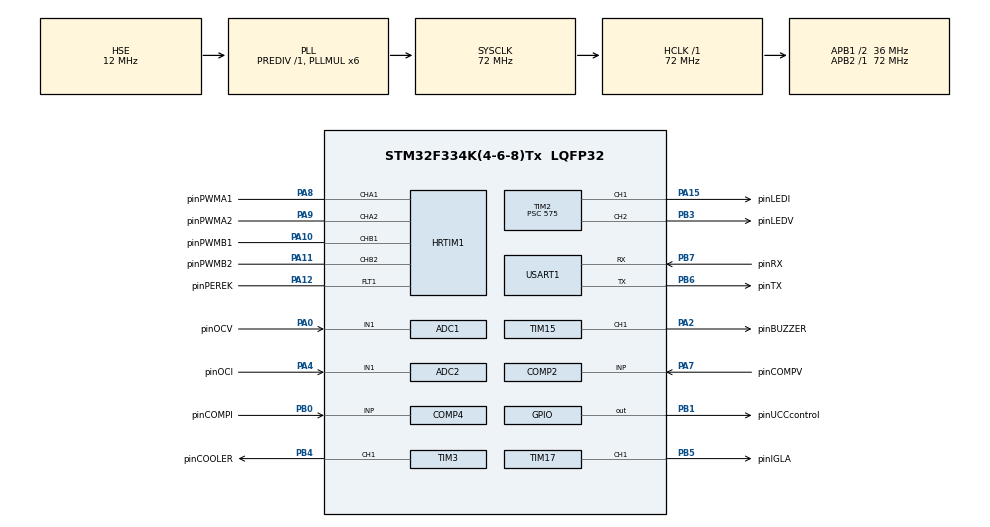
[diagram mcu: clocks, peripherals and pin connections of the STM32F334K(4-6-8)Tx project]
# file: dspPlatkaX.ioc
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ADC1.EOCSelection=ADC_EOC_SEQ_CONV
ADC1.EnableRegularConversion=DISABLE
ADC1.ExternalTrigInjecConv=ADC_EXTERNALTRIGINJECCONV_HRTIM_TRG2
ADC1.InjNumberOfConversion=1
ADC1.InjectedChannel-2\#ChannelInjectedConversion=ADC_CHANNEL_1
ADC1.InjectedOffset-2\#ChannelInjectedConversion=0
ADC1.InjectedOffsetNumber-2\#ChannelInjectedConversion=ADC_OFFSET_NONE
ADC1.InjectedRank-2\#ChannelInjectedConversion=1
ADC1.InjectedSamplingTime-2\#ChannelInjectedConversion=ADC_SAMPLETIME_19CYCLES_5
ADC1.InjectedSamplingTimeOPAMP-2\#ChannelInjectedConversion=ADC_SAMPLETIME_61CYCLES_5
ADC1.SubFamily=STM32F334x8
ADC1.master=1
ADC2.EnableRegularConversion=DISABLE
ADC2.ExternalTrigInjecConv=ADC_EXTERNALTRIGINJECCONV_HRTIM_TRG2
ADC2.InjNumberOfConversion=1
ADC2.InjectedChannel-1\#ChannelInjectedConversion=ADC_CHANNEL_1
ADC2.InjectedOffset-1\#ChannelInjectedConversion=0
ADC2.InjectedOffsetNumber-1\#ChannelInjectedConversion=ADC_OFFSET_NONE
ADC2.InjectedRank-1\#ChannelInjectedConversion=1
ADC2.InjectedSamplingTime-1\#ChannelInjectedConversion=ADC_SAMPLETIME_19CYCLES_5
ADC2.InjectedSamplingTimeOPAMP-1\#ChannelInjectedConversion=ADC_SAMPLETIME_61CYCLES_5
ADC2.SubFamily=STM32F334x8
COMP2.InvertingInput=COMP_INVERTINGINPUT_DAC1_CH2
COMP2.TriggerMode=COMP_TRIGGERMODE_IT_RISING_FALLING
COMP4.InvertingInput=COMP_INVERTINGINPUT_DAC1_CH2
COMP4.TriggerMode=COMP_TRIGGERMODE_IT_RISING_FALLING
DAC1.DAC_Trigger2=DAC_TRIGGER_SOFTWARE
DAC1.TriangleAmplitude2=DAC_TRIANGLEAMPLITUDE_7
DAC1.WaveGeneration2=TriangleWaveGeneration
DAC2.DAC_Trigger=DAC_TRIGGER_SOFTWARE
Dma.Request0=USART1_RX
Dma.Request1=USART1_TX
Dma.USART1_RX.0.Direction=DMA_PERIPH_TO_MEMORY
Dma.USART1_RX.0.Instance=DMA1_Channel5
Dma.USART1_RX.0.MemDataAlignment=DMA_MDATAALIGN_BYTE
Dma.USART1_RX.0.MemInc=DMA_MINC_ENABLE
Dma.USART1_RX.0.Mode=DMA_CIRCULAR
Dma.USART1_RX.0.PeriphDataAlignment=DMA_PDATAALIGN_BYTE
Dma.USART1_RX.0.PeriphInc=DMA_PINC_DISABLE
Dma.USART1_RX.0.Priority=DMA_PRIORITY_LOW
Dma.USART1_TX.1.Direction=DMA_MEMORY_TO_PERIPH
Dma.USART1_TX.1.Instance=DMA1_Channel4
Dma.USART1_TX.1.MemDataAlignment=DMA_MDATAALIGN_BYTE
Dma.USART1_TX.1.MemInc=DMA_MINC_ENABLE
Dma.USART1_TX.1.Mode=DMA_CIRCULAR
Dma.USART1_TX.1.PeriphDataAlignment=DMA_PDATAALIGN_BYTE
Dma.USART1_TX.1.PeriphInc=DMA_PINC_DISABLE
Dma.USART1_TX.1.Priority=DMA_PRIORITY_MEDIUM
HRTIM1.ADCTrigger2_Source1=HRTIM_ADCTRIGGEREVENT24_TIMERC_PERIOD
HRTIM1.ADCTrigger_Id2=HRTIM_ADCTRIGGER_2
HRTIM1.CaptureUnit1-Output_TB1TB2=HRTIM_CAPTUREUNIT_1
HRTIM1.CaptureUnit2-Output_TB1TB2=HRTIM_CAPTUREUNIT_2
HRTIM1.CompareUnit1-No_output_TC=__NULL
HRTIM1.CompareUnit1-Output_TA1TA2=__NULL
HRTIM1.CompareUnit1-Output_TB1TB2=HRTIM_COMPAREUNIT_1
HRTIM1.CompareUnit2-Output_TA1TA2=__NULL
HRTIM1.CompareUnit2-Output_TB1TB2=HRTIM_COMPAREUNIT_2
HRTIM1.CompareUnit3-Output_TB1TB2=HRTIM_COMPAREUNIT_3
HRTIM1.CompareUnit4-Output_TB1TB2=HRTIM_COMPAREUNIT_4
HRTIM1.CompareValue1-No_output_TC=2304
HRTIM1.CompareValue1-Output_TA1TA2=46080
HRTIM1.CompareValue1-Output_TB1TB2=4600
HRTIM1.CompareValue2-Output_TA1TA2=46080
HRTIM1.CompareValue2-Output_TB1TB2=23040
HRTIM1.CompareValue3-Output_TB1TB2=27640
HRTIM1.CompareValue4-Output_TB1TB2=46080
HRTIM1.DACSynchro-MasterTimer=HRTIM_DACSYNC_NONE
HRTIM1.Event_EEV1=HRTIM_EVENT_1
HRTIM1.Event_EEV2=HRTIM_EVENT_2
HRTIM1.FastMode_EEV1=HRTIM_EVENTFASTMODE_ENABLE
HRTIM1.FastMode_EEV2=HRTIM_EVENTFASTMODE_ENABLE
HRTIM1.FaultEnable_Source1-Output_TA1TA2=HRTIM_TIMFAULTENABLE_FAULT1
HRTIM1.FaultEnable_Source1-Output_TB1TB2=HRTIM_TIMFAULTENABLE_FAULT1
HRTIM1.FaultLevel1-Output_TA1TA2=HRTIM_OUTPUTFAULTLEVEL_ACTIVE
HRTIM1.FaultLevel1-Output_TB1TB2=HRTIM_OUTPUTFAULTLEVEL_INACTIVE
HRTIM1.FaultLevel2-Output_TA1TA2=HRTIM_OUTPUTFAULTLEVEL_ACTIVE
HRTIM1.FaultLevel2-Output_TB1TB2=HRTIM_OUTPUTFAULTLEVEL_INACTIVE
HRTIM1.Filter_FaultLine1=HRTIM_FAULTFILTER_15
HRTIM1.HRTIMInterruptResquests1=HRTIM_IT_FLT1
HRTIM1.HRTIMInterruptResquests2=HRTIM_IT_SYSFLT
HRTIM1.IdleLevel1-Output_TA1TA2=HRTIM_OUTPUTIDLELEVEL_ACTIVE
HRTIM1.IdleLevel2-Output_TA1TA2=HRTIM_OUTPUTIDLELEVEL_ACTIVE
HRTIM1.ModeTimeBase-Output_TA1TA2=HRTIM_MODE_SINGLESHOT_RETRIGGERABLE
HRTIM1.ModeTimeBase-Output_TB1TB2=HRTIM_MODE_SINGLESHOT_RETRIGGERABLE
HRTIM1.NumberADCTriggerSource2=1
HRTIM1.NumberFaultEnable-Output_TA1TA2=1
HRTIM1.NumberFaultEnable-Output_TB1TB2=1
HRTIM1.NumberResetSource1-Output_TA1TA2=1
HRTIM1.NumberResetSource1-Output_TB1TB2=7
HRTIM1.NumberResetSource2_TA=1
HRTIM1.NumberResetSource2_TB=7
HRTIM1.NumberResetTrigger-No_output_TC=1
HRTIM1.NumberResetTrigger-Output_TA1TA2=1
HRTIM1.NumberResetTrigger-Output_TB1TB2=1
HRTIM1.NumberSetSource1-Output_TA1TA2=2
HRTIM1.NumberSetSource1-Output_TB1TB2=1
HRTIM1.NumberSetSource2_TA=2
HRTIM1.NumberSetSource2_TB=1
HRTIM1.NumberTriggerSource_Captureconfig1-Output_TB1TB2=1
HRTIM1.NumberTriggerSource_Captureconfig2-Output_TB1TB2=1
HRTIM1.NumberUpdateTrigger-No_output_TC=1
HRTIM1.NumberUpdateTrigger-Output_TA1TA2=1
HRTIM1.NumberUpdateTrigger-Output_TB1TB2=1
HRTIM1.ORingUpdateSource_ADCTrigger2=HRTIM_ADCTRIGGERUPDATE_TIMER_C
HRTIM1.Periode_MASTER=46080
HRTIM1.Periode_TA=46080
HRTIM1.Periode_TB=46080
HRTIM1.Periode_TC=2304
HRTIM1.Polarity1-Output_TA1TA2=HRTIM_OUTPUTPOLARITY_LOW
HRTIM1.Polarity2-Output_TA1TA2=HRTIM_OUTPUTPOLARITY_LOW
HRTIM1.PreloadEnable-MasterTimer=HRTIM_PRELOAD_ENABLED
HRTIM1.PreloadEnable-No_output_TC=HRTIM_PRELOAD_ENABLED
HRTIM1.PreloadEnable-Output_TA1TA2=HRTIM_PRELOAD_ENABLED
HRTIM1.PreloadEnable-Output_TB1TB2=HRTIM_PRELOAD_ENABLED
HRTIM1.PrescalerRatio_MASTER=HRTIM_PRESCALERRATIO_MUL16
HRTIM1.PrescalerRatio_TA=HRTIM_PRESCALERRATIO_MUL16
HRTIM1.PrescalerRatio_TB=HRTIM_PRESCALERRATIO_MUL16
HRTIM1.PrescalerRatio_TC=HRTIM_PRESCALERRATIO_MUL32
HRTIM1.RepetitionUpdate-MasterTimer=HRTIM_UPDATEONREPETITION_ENABLED
HRTIM1.RepetitionUpdate-No_output_TC=HRTIM_UPDATEONREPETITION_ENABLED
HRTIM1.RepetitionUpdate-Output_TA1TA2=HRTIM_UPDATEONREPETITION_ENABLED
HRTIM1.RepetitionUpdate-Output_TB1TB2=HRTIM_UPDATEONREPETITION_ENABLED
HRTIM1.ResetOutput1_Source1-Output_TA1TA2=HRTIM_OUTPUTRESET_MASTERPER
HRTIM1.ResetOutput1_Source1-Output_TB1TB2=HRTIM_OUTPUTRESET_TIMCMP2
HRTIM1.ResetOutput1_Source2-Output_TA1TA2=HRTIM_OUTPUTRESET_NONE
HRTIM1.ResetOutput1_Source2-Output_TB1TB2=HRTIM_OUTPUTRESET_TIMCMP3
HRTIM1.ResetOutput1_Source3-Output_TA1TA2=HRTIM_OUTPUTRESET_NONE
HRTIM1.ResetOutput1_Source3-Output_TB1TB2=HRTIM_OUTPUTRESET_TIMCMP4
HRTIM1.ResetOutput1_Source4-Output_TB1TB2=HRTIM_OUTPUTRESET_EEV_1
HRTIM1.ResetOutput1_Source5-Output_TB1TB2=HRTIM_OUTPUTRESET_EEV_2
HRTIM1.ResetOutput1_Source6-Output_TB1TB2=HRTIM_OUTPUTRESET_MASTERPER
HRTIM1.ResetOutput1_Source7-Output_TB1TB2=HRTIM_OUTPUTRESET_UPDATE
HRTIM1.ResetOutput2_Source1-Output_TA1TA2=HRTIM_OUTPUTRESET_MASTERPER
HRTIM1.ResetOutput2_Source1-Output_TB1TB2=HRTIM_OUTPUTRESET_TIMCMP4
HRTIM1.ResetOutput2_Source2-Output_TA1TA2=HRTIM_OUTPUTRESET_NONE
HRTIM1.ResetOutput2_Source2-Output_TB1TB2=HRTIM_OUTPUTRESET_TIMCMP1
HRTIM1.ResetOutput2_Source3-Output_TA1TA2=HRTIM_OUTPUTRESET_NONE
HRTIM1.ResetOutput2_Source3-Output_TB1TB2=HRTIM_OUTPUTRESET_TIMCMP2
HRTIM1.ResetOutput2_Source4-Output_TB1TB2=HRTIM_OUTPUTRESET_EEV_1
HRTIM1.ResetOutput2_Source5-Output_TB1TB2=HRTIM_OUTPUTRESET_EEV_2
HRTIM1.ResetOutput2_Source6-Output_TB1TB2=HRTIM_OUTPUTRESET_UPDATE
HRTIM1.ResetOutput2_Source7-Output_TB1TB2=HRTIM_OUTPUTRESET_MASTERPER
HRTIM1.ResetTrigger1-No_output_TC=HRTIM_TIMRESETTRIGGER_UPDATE
HRTIM1.ResetTrigger1-Output_TA1TA2=HRTIM_TIMRESETTRIGGER_MASTER_PER
HRTIM1.ResetTrigger1-Output_TB1TB2=HRTIM_TIMRESETTRIGGER_MASTER_PER
HRTIM1.ResetUpdate-No_output_TC=HRTIM_TIMUPDATEONRESET_ENABLED
HRTIM1.ResetUpdate-Output_TA1TA2=HRTIM_TIMUPDATEONRESET_ENABLED
HRTIM1.ResetUpdate-Output_TB1TB2=HRTIM_TIMUPDATEONRESET_ENABLED
HRTIM1.SetOutput1_Source1-Output_TA1TA2=HRTIM_OUTPUTSET_EEV_1
HRTIM1.SetOutput1_Source1-Output_TB1TB2=HRTIM_OUTPUTSET_TIMCMP1
HRTIM1.SetOutput1_Source2-Output_TA1TA2=HRTIM_OUTPUTSET_EEV_2
HRTIM1.SetOutput2_Source1-Output_TA1TA2=HRTIM_OUTPUTSET_EEV_1
HRTIM1.SetOutput2_Source1-Output_TB1TB2=HRTIM_OUTPUTSET_TIMCMP3
HRTIM1.SetOutput2_Source2-Output_TA1TA2=HRTIM_OUTPUTSET_EEV_2
HRTIM1.TriggerCapture1_Source1-Output_TB1TB2=HRTIM_CAPTURETRIGGER_EEV_1
HRTIM1.TriggerCapture2_Source1-Output_TB1TB2=HRTIM_CAPTURETRIGGER_EEV_2
HRTIM1.UpdateTrigger1-No_output_TC=HRTIM_TIMUPDATETRIGGER_TIMER_C
HRTIM1.UpdateTrigger1-Output_TA1TA2=HRTIM_TIMUPDATETRIGGER_MASTER
HRTIM1.UpdateTrigger1-Output_TB1TB2=HRTIM_TIMUPDATETRIGGER_MASTER
IWDG.Prescaler=IWDG_PRESCALER_256
Mcu.Family=STM32F3
Mcu.Name=STM32F334K(4-6-8)Tx
Mcu.Package=LQFP32
NVIC.ADC1_2_IRQn=true\:3\:0\:true\:true\:true\:4\:true\:true
NVIC.COMP2_IRQn=true\:1\:0\:true\:true\:true\:2\:false\:true
NVIC.COMP4_6_IRQn=true\:2\:0\:true\:true\:true\:3\:false\:true
NVIC.DMA1_Channel4_IRQn=true\:14\:0\:true\:true\:true\:8\:false\:true
NVIC.DMA1_Channel5_IRQn=true\:14\:0\:true\:true\:true\:9\:false\:true
NVIC.PVD_IRQn=true\:12\:0\:true\:true\:true\:7\:true\:true
NVIC.PriorityGroup=NVIC_PRIORITYGROUP_4
NVIC.TIM1_BRK_TIM15_IRQn=true\:13\:0\:true\:true\:true\:6\:true\:true
NVIC.TIM1_UP_TIM16_IRQn=true\:0\:0\:false\:true\:true\:1\:true\:true
NVIC.TIM2_IRQn=true\:4\:0\:true\:true\:true\:5\:true\:true
PA0.GPIO_Label=pinOCV
PA0.Mode=IN1-Single-Ended
PA0.Signal=ADC1_IN1
PA10.GPIO_Label=pinPWMB1
PA10.Mode=Output_TB1TB2
PA10.Signal=HRTIM1_CHB1
PA11.GPIO_Label=pinPWMB2
PA11.Mode=Output_TB1TB2
PA11.Signal=HRTIM1_CHB2
PA12.GPIO_Label=pinPEREK
PA12.GPIO_Speed=GPIO_SPEED_FREQ_HIGH
PA12.Mode=Fault_Enable1
PA12.Signal=HRTIM1_FLT1
PA13.GPIO_Label=pinDIO
PA13.Mode=Serial_Wire
PA13.Signal=SYS_JTMS-SWDIO
PA14.GPIO_Label=pinCLK
PA14.Mode=Serial_Wire
PA14.Signal=SYS_JTCK-SWCLK
PA15.GPIO_Label=pinLEDI
PA15.GPIO_Speed=GPIO_SPEED_FREQ_HIGH
PA15.Signal=S_TIM2_CH1_ETR
PA2.GPIO_Label=pinBUZZER
PA2.GPIO_Speed=GPIO_SPEED_FREQ_HIGH
PA2.Signal=S_TIM15_CH1
PA4.GPIO_Label=pinOCI
PA4.Mode=IN1-Single-Ended
PA4.Signal=ADC2_IN1
PA7.GPIO_Label=pinCOMPV
PA7.Mode=INP
PA7.Signal=COMP2_INP
PA8.GPIO_Label=pinPWMA1
PA8.Mode=Output_TA1TA2
PA8.Signal=HRTIM1_CHA1
PA9.GPIO_Label=pinPWMA2
PA9.Mode=Output_TA1TA2
PA9.Signal=HRTIM1_CHA2
PB0.GPIO_Label=pinCOMPI
PB0.Mode=INP
PB0.Signal=COMP4_INP
PB1.GPIO_Label=pinUCCcontrol
PB1.GPIO_Speed=GPIO_SPEED_FREQ_HIGH
PB1.PinState=GPIO_PIN_SET
PB1.Signal=GPIO_Output
PB3.GPIO_Label=pinLEDV
PB3.GPIO_Speed=GPIO_SPEED_FREQ_HIGH
PB3.Signal=S_TIM2_CH2
PB4.GPIO_Label=pinCOOLER
PB4.GPIO_Speed=GPIO_SPEED_FREQ_HIGH
PB4.Signal=S_TIM3_CH1
PB5.GPIO_Label=pinIGLA
PB5.GPIO_Speed=GPIO_SPEED_FREQ_HIGH
PB5.Signal=S_TIM17_CH1
PB6.GPIO_FM6=SYSCFG_CFGR1_I2C_PB6_FMP
PB6.GPIO_Label=pinTX
PB6.Mode=Asynchronous
PB6.Signal=USART1_TX
PB7.GPIO_FM7=SYSCFG_CFGR1_I2C_PB7_FMP
PB7.GPIO_Label=pinRX
PB7.Mode=Asynchronous
PB7.Signal=USART1_RX
PF0\ /\ OSC_IN.GPIO_Label=pinPF0
PF0\ /\ OSC_IN.Mode=HSE-External-Oscillator
PF0\ /\ OSC_IN.Signal=RCC_OSC_IN
PF1\ /\ OSC_OUT.GPIO_Label=pinPF1
PF1\ /\ OSC_OUT.Mode=HSE-External-Oscillator
PF1\ /\ OSC_OUT.Signal=RCC_OSC_OUT
ProjectManager.HeapSize=0x200
ProjectManager.StackSize=0x400
ProjectManager.TargetToolchain=STM32CubeIDE
RCC.AHBFreq_Value=72000000
RCC.APB1CLKDivider=RCC_HCLK_DIV2
RCC.APB1Freq_Value=36000000
RCC.APB1TimFreq_Value=72000000
RCC.APB2Freq_Value=72000000
RCC.APB2TimFreq_Value=72000000
RCC.CortexFreq_Value=72000000
RCC.HCLKFreq_Value=72000000
RCC.HRTIMSelection=RCC_HRTIM1CLK_PLLCLK
RCC.HSE_VALUE=12000000
RCC.HSI_VALUE=8000000
RCC.PLLMUL=RCC_PLL_MUL6
RCC.PLLSourceVirtual=RCC_PLLSOURCE_HSE
RCC.SYSCLKFreq_VALUE=72000000
RCC.SYSCLKSourceVirtual=RCC_SYSCLKSOURCE_PLLCLK
RCC.TIM1Selection=RCC_TIM1CLK_PLLCLK
RCC.Usart1ClockSelection=RCC_USART1CLKSOURCE_SYSCLK
SH.S_TIM15_CH1.0=TIM15_CH1,PWM Generation1 CH1
SH.S_TIM17_CH1.0=TIM17_CH1,PWM Generation1 CH1
SH.S_TIM2_CH1_ETR.0=TIM2_CH1,PWM Generation1 CH1
SH.S_TIM2_CH2.0=TIM2_CH2,PWM Generation2 CH2
SH.S_TIM3_CH1.0=TIM3_CH1,PWM Generation1 CH1
TIM1.AutoReloadPreload=TIM_AUTORELOAD_PRELOAD_ENABLE
TIM1.Period=17279
TIM15.AutoReloadPreload=TIM_AUTORELOAD_PRELOAD_ENABLE
TIM15.Channel-PWM\ Generation1\ CH1=TIM_CHANNEL_1
TIM15.OCFastMode_PWM-PWM\ Generation1\ CH1=TIM_OCFAST_ENABLE
TIM15.Period=63999
TIM15.Prescaler=2249
TIM17.AutoReloadPreload=TIM_AUTORELOAD_PRELOAD_ENABLE
TIM17.Channel=TIM_CHANNEL_1
TIM17.OCFastMode_PWM=TIM_OCFAST_ENABLE
TIM17.Period=7199
TIM2.AutoReloadPreload=TIM_AUTORELOAD_PRELOAD_ENABLE
TIM2.Channel-PWM\ Generation1\ CH1=TIM_CHANNEL_1
TIM2.Channel-PWM\ Generation2\ CH2=TIM_CHANNEL_2
TIM2.OCFastMode_PWM-PWM\ Generation1\ CH1=TIM_OCFAST_ENABLE
TIM2.OCFastMode_PWM-PWM\ Generation2\ CH2=TIM_OCFAST_ENABLE
TIM2.Period=62499
TIM2.Prescaler=575
TIM3.AutoReloadPreload=TIM_AUTORELOAD_PRELOAD_ENABLE
TIM3.Channel-PWM\ Generation1\ CH1=TIM_CHANNEL_1
TIM3.OCFastMode_PWM-PWM\ Generation1\ CH1=TIM_OCFAST_ENABLE
TIM3.Period=35999
USART1.VirtualMode-Asynchronous=VM_ASYNC
VP_COMP2_VS_DAC1OUT2.Mode=INM_DAC1OUT2
VP_COMP4_VS_DAC1OUT2.Mode=INM_DAC1OUT2
VP_DAC1_Switcher_Out2.Mode=Switch_Disable_OUT2
VP_DAC2_Switcher_Out1.Mode=Switch_Disable_OUT1
VP_HRTIM1_VS_hrtimMasterTimerNoOutput.Mode=MasterTimer
VP_HRTIM1_VS_hrtimTimerCNoOutput.Mode=No_output_TC
VP_IWDG_VS_IWDG.Mode=IWDG_Activate
VP_TIM15_VS_ClockSourceINT.Mode=Internal
VP_TIM17_VS_ClockSourceINT.Mode=Enable_Timer
VP_TIM1_VS_ClockSourceINT.Mode=Internal
VP_TIM2_VS_ClockSourceINT.Mode=Internal
VP_TIM3_VS_ClockSourceINT.Mode=Internal
board=custom

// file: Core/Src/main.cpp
/* USER CODE BEGIN Header */
/**
  ******************************************************************************
  * @file           : main.c
  * @brief          : Main program body
  ******************************************************************************
  * @attention
  *
  * <h2><center>&copy; Copyright (c) 2020 STMicroelectronics.
  * All rights reserved.</center></h2>
  *
  * This software component is licensed by ST under BSD 3-Clause license,
  * the "License"; You may not use this file except in compliance with the
  * License. You may obtain a copy of the License at:
  *                        opensource.org/licenses/BSD-3-Clause
  *
  ******************************************************************************
  */
/* USER CODE END Header */
#include "main.h"
#include "adc.h"
#include "comp.h"
#include "dac.h"
#include "dma.h"
#include "hrtim.h"
#include "iwdg.h"
#include "tim.h"
#include "usart.h"
#include "gpio.h"

/* USER CODE BEGIN Includes */
#include "FilterWindowMedium.h"
#include "Pid.h"
/* USER CODE END Includes */

/* USER CODE BEGIN PV */
volatile CONVERTERSTATE conv_state=UNKNOW;
volatile uint8_t wave_ind=0;
volatile uint8_t low_pvd_flag = 0;

volatile uint16_t compi_flag = 0;
volatile uint16_t compv_flag = 0;

volatile uint16_t compi_flag_sec = 0;
volatile uint16_t compv_flag_sec = 0;

volatile uint32_t Blocked_By_COMP_TICK=0;

volatile uint8_t Stop_ADC_OCV=0; // Stop ADC OCV
volatile uint8_t Stop_ADC_OCI=0; // Stop ADC OCI

volatile uint16_t ADC_OCV [ADC_sizeBuffer]={0};
volatile uint16_t ADC_OCI [ADC_sizeBuffer]={0};
volatile uint16_t Adc_step=0;

PidController pidVoltageMode;
PidController pidCurrentMode;

float _OCV = 0.0f;
float _OCI = 0.0f;
float resultPID = 0.0f;
uint32_t NewDuty=0;

volatile uint16_t SinusTableCOMP [SinusTableSize]={
		VOLTAGE_LEVEL_COMP, VOLTAGE_LEVEL_COMP, VOLTAGE_LEVEL_COMP, VOLTAGE_LEVEL_COMP, VOLTAGE_LEVEL_COMP,
		VOLTAGE_LEVEL_COMP, VOLTAGE_LEVEL_COMP, VOLTAGE_LEVEL_COMP, VOLTAGE_LEVEL_COMP, VOLTAGE_LEVEL_COMP,
		VOLTAGE_LEVEL_COMP, VOLTAGE_LEVEL_COMP, VOLTAGE_LEVEL_COMP, VOLTAGE_LEVEL_COMP, VOLTAGE_LEVEL_COMP,
		VOLTAGE_LEVEL_COMP, VOLTAGE_LEVEL_COMP, VOLTAGE_LEVEL_COMP, VOLTAGE_LEVEL_COMP, VOLTAGE_LEVEL_COMP,
		VOLTAGE_LEVEL_COMP, VOLTAGE_LEVEL_COMP, VOLTAGE_LEVEL_COMP, VOLTAGE_LEVEL_COMP, VOLTAGE_LEVEL_COMP,
		VOLTAGE_LEVEL_COMP, VOLTAGE_LEVEL_COMP, VOLTAGE_LEVEL_COMP, VOLTAGE_LEVEL_COMP, VOLTAGE_LEVEL_COMP,
		VOLTAGE_LEVEL_COMP, VOLTAGE_LEVEL_COMP, VOLTAGE_LEVEL_COMP, VOLTAGE_LEVEL_COMP, VOLTAGE_LEVEL_COMP,
		VOLTAGE_LEVEL_COMP, VOLTAGE_LEVEL_COMP, VOLTAGE_LEVEL_COMP, VOLTAGE_LEVEL_COMP, VOLTAGE_LEVEL_COMP,
		VOLTAGE_LEVEL_COMP, VOLTAGE_LEVEL_COMP, VOLTAGE_LEVEL_COMP, VOLTAGE_LEVEL_COMP, VOLTAGE_LEVEL_COMP,
		VOLTAGE_LEVEL_COMP, VOLTAGE_LEVEL_COMP, VOLTAGE_LEVEL_COMP, VOLTAGE_LEVEL_COMP, VOLTAGE_LEVEL_COMP,
		VOLTAGE_LEVEL_COMP, VOLTAGE_LEVEL_COMP, VOLTAGE_LEVEL_COMP, VOLTAGE_LEVEL_COMP, VOLTAGE_LEVEL_COMP,
		VOLTAGE_LEVEL_COMP, VOLTAGE_LEVEL_COMP, VOLTAGE_LEVEL_COMP, VOLTAGE_LEVEL_COMP, VOLTAGE_LEVEL_COMP,
		VOLTAGE_LEVEL_COMP, VOLTAGE_LEVEL_COMP, VOLTAGE_LEVEL_COMP, VOLTAGE_LEVEL_COMP, VOLTAGE_LEVEL_COMP,
		VOLTAGE_LEVEL_COMP, VOLTAGE_LEVEL_COMP, VOLTAGE_LEVEL_COMP, VOLTAGE_LEVEL_COMP, VOLTAGE_LEVEL_COMP,
		VOLTAGE_LEVEL_COMP, VOLTAGE_LEVEL_COMP, VOLTAGE_LEVEL_COMP, VOLTAGE_LEVEL_COMP, VOLTAGE_LEVEL_COMP,
		VOLTAGE_LEVEL_COMP, VOLTAGE_LEVEL_COMP, VOLTAGE_LEVEL_COMP, VOLTAGE_LEVEL_COMP, VOLTAGE_LEVEL_COMP,
		VOLTAGE_LEVEL_COMP, VOLTAGE_LEVEL_COMP, VOLTAGE_LEVEL_COMP, VOLTAGE_LEVEL_COMP, VOLTAGE_LEVEL_COMP,
		VOLTAGE_LEVEL_COMP, VOLTAGE_LEVEL_COMP, VOLTAGE_LEVEL_COMP, VOLTAGE_LEVEL_COMP, VOLTAGE_LEVEL_COMP,
		VOLTAGE_LEVEL_COMP, VOLTAGE_LEVEL_COMP, VOLTAGE_LEVEL_COMP, VOLTAGE_LEVEL_COMP, VOLTAGE_LEVEL_COMP,
		VOLTAGE_LEVEL_COMP, VOLTAGE_LEVEL_COMP, VOLTAGE_LEVEL_COMP, VOLTAGE_LEVEL_COMP, VOLTAGE_LEVEL_COMP,
		VOLTAGE_LEVEL_COMP, VOLTAGE_LEVEL_COMP, VOLTAGE_LEVEL_COMP, VOLTAGE_LEVEL_COMP, VOLTAGE_LEVEL_COMP,
		VOLTAGE_LEVEL_COMP, VOLTAGE_LEVEL_COMP, VOLTAGE_LEVEL_COMP, VOLTAGE_LEVEL_COMP, VOLTAGE_LEVEL_COMP,
		VOLTAGE_LEVEL_COMP, VOLTAGE_LEVEL_COMP, VOLTAGE_LEVEL_COMP, VOLTAGE_LEVEL_COMP, VOLTAGE_LEVEL_COMP,
		VOLTAGE_LEVEL_COMP, VOLTAGE_LEVEL_COMP, VOLTAGE_LEVEL_COMP, VOLTAGE_LEVEL_COMP, VOLTAGE_LEVEL_COMP,
		VOLTAGE_LEVEL_COMP, VOLTAGE_LEVEL_COMP, VOLTAGE_LEVEL_COMP, VOLTAGE_LEVEL_COMP, VOLTAGE_LEVEL_COMP,
		VOLTAGE_LEVEL_COMP, VOLTAGE_LEVEL_COMP, VOLTAGE_LEVEL_COMP, VOLTAGE_LEVEL_COMP, VOLTAGE_LEVEL_COMP,
		VOLTAGE_LEVEL_COMP, VOLTAGE_LEVEL_COMP, VOLTAGE_LEVEL_COMP, VOLTAGE_LEVEL_COMP, VOLTAGE_LEVEL_COMP,
		VOLTAGE_LEVEL_COMP, VOLTAGE_LEVEL_COMP, VOLTAGE_LEVEL_COMP, VOLTAGE_LEVEL_COMP, VOLTAGE_LEVEL_COMP,
		VOLTAGE_LEVEL_COMP, VOLTAGE_LEVEL_COMP, VOLTAGE_LEVEL_COMP, VOLTAGE_LEVEL_COMP, VOLTAGE_LEVEL_COMP,
		VOLTAGE_LEVEL_COMP, VOLTAGE_LEVEL_COMP, VOLTAGE_LEVEL_COMP, VOLTAGE_LEVEL_COMP, VOLTAGE_LEVEL_COMP,
		VOLTAGE_LEVEL_COMP, VOLTAGE_LEVEL_COMP, VOLTAGE_LEVEL_COMP, VOLTAGE_LEVEL_COMP, VOLTAGE_LEVEL_COMP,
		VOLTAGE_LEVEL_COMP, VOLTAGE_LEVEL_COMP, VOLTAGE_LEVEL_COMP, VOLTAGE_LEVEL_COMP, VOLTAGE_LEVEL_COMP,
		VOLTAGE_LEVEL_COMP, VOLTAGE_LEVEL_COMP, VOLTAGE_LEVEL_COMP, VOLTAGE_LEVEL_COMP, VOLTAGE_LEVEL_COMP,
		VOLTAGE_LEVEL_COMP, VOLTAGE_LEVEL_COMP, VOLTAGE_LEVEL_COMP
};

volatile uint16_t SinusTable [SinusTableSize]={
		VOLTAGE_LEVEL, VOLTAGE_LEVEL, VOLTAGE_LEVEL, VOLTAGE_LEVEL, VOLTAGE_LEVEL,
		VOLTAGE_LEVEL, VOLTAGE_LEVEL, VOLTAGE_LEVEL, VOLTAGE_LEVEL, VOLTAGE_LEVEL,
		VOLTAGE_LEVEL, VOLTAGE_LEVEL, VOLTAGE_LEVEL, VOLTAGE_LEVEL, VOLTAGE_LEVEL,
		VOLTAGE_LEVEL, VOLTAGE_LEVEL, VOLTAGE_LEVEL, VOLTAGE_LEVEL, VOLTAGE_LEVEL,
		VOLTAGE_LEVEL, VOLTAGE_LEVEL, VOLTAGE_LEVEL, VOLTAGE_LEVEL, VOLTAGE_LEVEL,
		VOLTAGE_LEVEL, VOLTAGE_LEVEL, VOLTAGE_LEVEL, VOLTAGE_LEVEL, VOLTAGE_LEVEL,
		VOLTAGE_LEVEL, VOLTAGE_LEVEL, VOLTAGE_LEVEL, VOLTAGE_LEVEL, VOLTAGE_LEVEL,
		VOLTAGE_LEVEL, VOLTAGE_LEVEL, VOLTAGE_LEVEL, VOLTAGE_LEVEL, VOLTAGE_LEVEL,
		VOLTAGE_LEVEL, VOLTAGE_LEVEL, VOLTAGE_LEVEL, VOLTAGE_LEVEL, VOLTAGE_LEVEL,
		VOLTAGE_LEVEL, VOLTAGE_LEVEL, VOLTAGE_LEVEL, VOLTAGE_LEVEL, VOLTAGE_LEVEL,
		VOLTAGE_LEVEL, VOLTAGE_LEVEL, VOLTAGE_LEVEL, VOLTAGE_LEVEL, VOLTAGE_LEVEL,
		VOLTAGE_LEVEL, VOLTAGE_LEVEL, VOLTAGE_LEVEL, VOLTAGE_LEVEL, VOLTAGE_LEVEL,
		VOLTAGE_LEVEL, VOLTAGE_LEVEL, VOLTAGE_LEVEL, VOLTAGE_LEVEL, VOLTAGE_LEVEL,
		VOLTAGE_LEVEL, VOLTAGE_LEVEL, VOLTAGE_LEVEL, VOLTAGE_LEVEL, VOLTAGE_LEVEL,
		VOLTAGE_LEVEL, VOLTAGE_LEVEL, VOLTAGE_LEVEL, VOLTAGE_LEVEL, VOLTAGE_LEVEL,
		VOLTAGE_LEVEL, VOLTAGE_LEVEL, VOLTAGE_LEVEL, VOLTAGE_LEVEL, VOLTAGE_LEVEL,
		VOLTAGE_LEVEL, VOLTAGE_LEVEL, VOLTAGE_LEVEL, VOLTAGE_LEVEL, VOLTAGE_LEVEL,
		VOLTAGE_LEVEL, VOLTAGE_LEVEL, VOLTAGE_LEVEL, VOLTAGE_LEVEL, VOLTAGE_LEVEL,
		VOLTAGE_LEVEL, VOLTAGE_LEVEL, VOLTAGE_LEVEL, VOLTAGE_LEVEL, VOLTAGE_LEVEL,
		VOLTAGE_LEVEL, VOLTAGE_LEVEL, VOLTAGE_LEVEL, VOLTAGE_LEVEL, VOLTAGE_LEVEL,
		VOLTAGE_LEVEL, VOLTAGE_LEVEL, VOLTAGE_LEVEL, VOLTAGE_LEVEL, VOLTAGE_LEVEL,
		VOLTAGE_LEVEL, VOLTAGE_LEVEL, VOLTAGE_LEVEL, VOLTAGE_LEVEL, VOLTAGE_LEVEL,
		VOLTAGE_LEVEL, VOLTAGE_LEVEL, VOLTAGE_LEVEL, VOLTAGE_LEVEL, VOLTAGE_LEVEL,
		VOLTAGE_LEVEL, VOLTAGE_LEVEL, VOLTAGE_LEVEL, VOLTAGE_LEVEL, VOLTAGE_LEVEL,
		VOLTAGE_LEVEL, VOLTAGE_LEVEL, VOLTAGE_LEVEL, VOLTAGE_LEVEL, VOLTAGE_LEVEL,
		VOLTAGE_LEVEL, VOLTAGE_LEVEL, VOLTAGE_LEVEL, VOLTAGE_LEVEL, VOLTAGE_LEVEL,
		VOLTAGE_LEVEL, VOLTAGE_LEVEL, VOLTAGE_LEVEL, VOLTAGE_LEVEL, VOLTAGE_LEVEL,
		VOLTAGE_LEVEL, VOLTAGE_LEVEL, VOLTAGE_LEVEL, VOLTAGE_LEVEL, VOLTAGE_LEVEL,
		VOLTAGE_LEVEL, VOLTAGE_LEVEL, VOLTAGE_LEVEL, VOLTAGE_LEVEL, VOLTAGE_LEVEL,
		VOLTAGE_LEVEL, VOLTAGE_LEVEL, VOLTAGE_LEVEL, VOLTAGE_LEVEL, VOLTAGE_LEVEL,
		VOLTAGE_LEVEL, VOLTAGE_LEVEL, VOLTAGE_LEVEL, VOLTAGE_LEVEL, VOLTAGE_LEVEL,
		VOLTAGE_LEVEL, VOLTAGE_LEVEL, VOLTAGE_LEVEL, VOLTAGE_LEVEL, VOLTAGE_LEVEL,
		VOLTAGE_LEVEL, VOLTAGE_LEVEL, VOLTAGE_LEVEL, VOLTAGE_LEVEL, VOLTAGE_LEVEL,
		VOLTAGE_LEVEL, VOLTAGE_LEVEL, VOLTAGE_LEVEL
};

/*volatile uint16_t SinusTable [SinusTableSize]={
		1, 115, 228, 341, 453, 565, 676, 787, 896, 1003, 1110, 1214, 1317, 1418, 1517, 1614, 1709, 1801,
		1890, 1977, 2061, 2142, 2220, 2295, 2367, 2435, 2499, 2560, 2618, 2671, 2721, 2767, 2809, 2847,
		2881, 2911, 2936, 2958, 2975, 2988, 2996, 3000, 3000, 2996, 2988, 2975, 2958, 2936, 2911, 2881,
		2847, 2809, 2767, 2721, 2671, 2618, 2560, 2499, 2435, 2367, 2295, 2220, 2142, 2061, 1977, 1890,
		1801, 1709, 1614, 1517, 1418, 1317, 1214, 1110, 1003, 896, 787, 676, 565, 453, 341, 228, 115, 0,
		1, 115, 228, 341, 453, 565, 676, 787, 896, 1003, 1110, 1214, 1317, 1418, 1517, 1614, 1709, 1801,
		1890, 1977, 2061, 2142, 2220, 2295, 2367, 2435, 2499, 2560, 2618, 2671, 2721, 2767, 2809, 2847,
		2881, 2911, 2936, 2958, 2975, 2988, 2996, 3000, 3000, 2996, 2988, 2975, 2958, 2936, 2911, 2881,
		2847, 2809, 2767, 2721, 2671, 2618, 2560, 2499, 2435, 2367, 2295, 2220, 2142, 2061, 1977, 1890,
		1801, 1709, 1614, 1517, 1418, 1317, 1214, 1110, 1003, 896, 787, 676, 565, 453, 341, 228, 115, 0
};

volatile uint16_t SinusTableCOMP [SinusTableSize]={
		900, 1014, 1127, 1240, 1352, 1464, 1575, 1686, 1795, 1902, 2009, 2113, 2216, 2317, 2416, 2513,
		2608, 2700, 2789, 2876, 2960, 3041, 3119, 3194, 3266, 3334, 3398, 3459, 3517, 3570, 3620, 3666,
		3708, 3746, 3780, 3810, 3835, 3857, 3874, 3887, 3895, 3899, 3899, 3895, 3887, 3874, 3857, 3835,
		3810, 3780, 3746, 3708, 3666, 3620, 3570, 3517, 3459, 3398, 3334, 3266, 3194, 3119, 3041, 2960,
		2876, 2789, 2700, 2608, 2513, 2416, 2317, 2216, 2113, 2009, 1902, 1795, 1686, 1575, 1464, 1352,
		1240, 1127, 1014, 0,
		900, 1014, 1127, 1240, 1352, 1464, 1575, 1686, 1795, 1902, 2009, 2113, 2216, 2317, 2416, 2513,
		2608, 2700, 2789, 2876, 2960, 3041, 3119, 3194, 3266, 3334, 3398, 3459, 3517, 3570, 3620, 3666,
		3708, 3746, 3780, 3810, 3835, 3857, 3874, 3887, 3895, 3899, 3899, 3895, 3887, 3874, 3857, 3835,
		3810, 3780, 3746, 3708, 3666, 3620, 3570, 3517, 3459, 3398, 3334, 3266, 3194, 3119, 3041, 2960,
		2876, 2789, 2700, 2608, 2513, 2416, 2317, 2216, 2113, 2009, 1902, 1795, 1686, 1575, 1464, 1352,
		1240, 1127, 1014, 0
};*/

/* USER CODE END PV */

void SystemClock_Config(void);
static void MX_NVIC_Init(void);
/* USER CODE BEGIN PFP */
void ConverterStart();
void ConverterStop();
void ConverterProccess();
void SetDuty(float _Duty);
/* USER CODE END PFP */

/* USER CODE BEGIN 0 */
void ConverterStart()
{
	//TIM15->CCR1=LED_OFF;
	// kHZ
	HAL_HRTIM_WaveformOutputStart(&hhrtim1,
		                                  HRTIM_OUTPUT_TB1
		                                  | HRTIM_OUTPUT_TB2);
	HAL_HRTIM_WaveformCountStart(&hhrtim1, HRTIM_TIMERID_TIMER_A | HRTIM_TIMERID_TIMER_B
			| HRTIM_TIMERID_MASTER
			| HRTIM_TIMERID_TIMER_C);
	wave_ind=0;

	conv_state=CONVERTER_STARTED;
}

void ConverterStop()
{
	HAL_HRTIM_WaveformOutputStop(&hhrtim1, HRTIM_OUTPUT_TA1
	                                  | HRTIM_OUTPUT_TA2
	                                  | HRTIM_OUTPUT_TB1
	                                  | HRTIM_OUTPUT_TB2);
	HAL_HRTIM_WaveformCountStop(&hhrtim1, HRTIM_TIMERID_TIMER_A | HRTIM_TIMERID_TIMER_B);
	conv_state=CONVERTER_STOP;
}

void SetDuty(float _Duty)
{
	NewDuty=HRTIM1->sTimerxRegs[1].CMP2xR+_Duty;
	if (NewDuty<=4600) {
		NewDuty=4620;
	}
	if (NewDuty>23040) {
		NewDuty=23040;
	}
	HRTIM1->sTimerxRegs[1].CMP2xR=NewDuty;
	HRTIM1->sTimerxRegs[1].CMP4xR=23040+NewDuty;
}

void ConverterProccess()
{
		wave_ind++;

		if (wave_ind>wave_ind_bottom_end) {
				wave_ind=0;
		}

		DAC2->DHR12R1=CURRENT_LEVEL_COMP;
		DAC1->DHR12R2=SinusTableCOMP[wave_ind];

		if ((wave_ind==0) || (wave_ind==wave_ind_top_end+1)) {
			if ( ((compi_flag>0) || (compv_flag>0)) && (compi_flag_sec<=comp_cnt_per_sec) && (compv_flag_sec<=comp_cnt_per_sec) ) {
				compi_flag=0;
				compv_flag=0;
				//COMP_1SEC_TICK=0;
				HAL_HRTIM_WaveformOutputStart(&hhrtim1, HRTIM_OUTPUT_TB1 | HRTIM_OUTPUT_TB2);
			}
		}

		if ( (compi_flag>comp_cnt_per_wave) || (compv_flag>comp_cnt_per_wave)
				|| (compv_flag_sec>comp_cnt_per_sec)
				|| (compi_flag_sec>comp_cnt_per_sec)) {
			HAL_HRTIM_WaveformOutputStop(&hhrtim1, HRTIM_OUTPUT_TA1 | HRTIM_OUTPUT_TA2
						| HRTIM_OUTPUT_TB1 | HRTIM_OUTPUT_TB2);
		} else {

				if ( (wave_ind>=wave_ind_top_start) && (wave_ind<=wave_ind_top_end)) {
					HAL_HRTIM_WaveformOutputStop(&hhrtim1, HRTIM_OUTPUT_TA2);
					HAL_HRTIM_WaveformOutputStart(&hhrtim1, HRTIM_OUTPUT_TA1 | HRTIM_OUTPUT_TB1 | HRTIM_OUTPUT_TB2);
				} else {
					if ((wave_ind>=wave_ind_bottom_start) && (wave_ind<=wave_ind_bottom_end)) {
						HAL_HRTIM_WaveformOutputStop(&hhrtim1, HRTIM_OUTPUT_TA1);
						HAL_HRTIM_WaveformOutputStart(&hhrtim1, HRTIM_OUTPUT_TA2 | HRTIM_OUTPUT_TB1 | HRTIM_OUTPUT_TB2);
					} else {
						//HAL_HRTIM_WaveformOutputStop(&hhrtim1, HRTIM_OUTPUT_TA1 | HRTIM_OUTPUT_TA2);
						HAL_HRTIM_WaveformOutputStop(&hhrtim1, HRTIM_OUTPUT_TA1 | HRTIM_OUTPUT_TA2
												| HRTIM_OUTPUT_TB1 | HRTIM_OUTPUT_TB2);
					}
				}

		}

		// Math OCV  and OCI
		Stop_ADC_OCV=1;
		Stop_ADC_OCI=1;
		__HAL_ADC_DISABLE_IT(&hadc2, ADC_IT_JEOC);

		_OCV=FilterWindowMedium::Compute((uint16_t *)ADC_OCV, ADC_sizeBuffer, ADC_sizeWindow);
		_OCI=FilterWindowMedium::Compute((uint16_t *)ADC_OCI, ADC_sizeBuffer, ADC_sizeWindow);

		if (_OCV<SinusTable[wave_ind]- 0.2f) {
			pidCurrentMode
					            .SetReference(CURRENT_LEVEL)
					            .SetSaturation(-18440, 18440)
					            .SetFeedback(_OCI, 0.0002)
					            .SetCoefficient(10, 0, 0, 0, 0)
					            .Compute();
					        resultPID = pidCurrentMode.Get();
			TIM2->CCR1=LED_MINIBLINK;
			TIM2->CCR2=LED_OFF;

		} else {
			pidVoltageMode
			            .SetReference(SinusTable[wave_ind])
			            .SetSaturation(-18440, 18440)
			            .SetFeedback(_OCV, 0.0002)
			            .SetCoefficient(50, 0, 0, 0, 0)
			            .Compute();
					        resultPID = pidVoltageMode.Get();
			TIM2->CCR1=LED_OFF;
			TIM2->CCR2=LED_MINIBLINK;
		}

		SetDuty(resultPID);

		Stop_ADC_OCI=0;
		Stop_ADC_OCV=0;
		__HAL_ADC_ENABLE_IT(&hadc2, ADC_IT_JEOC);
}

void FASTfeedback(void)
{
	__HAL_TIM_CLEAR_IT(&htim1, TIM_IT_UPDATE);

	if (__HAL_HRTIM_GET_FLAG(&hhrtim1,HRTIM_IT_FLT1) || (low_pvd_flag==1)) {
		if (conv_state!=CONVERTER_STOP) {
			ConverterStop();
			compi_flag_sec=0;
			compv_flag_sec=0;
		}
		__HAL_HRTIM_CLEAR_FLAG(&hhrtim1, HRTIM_IT_FLT1); // try to start and next cycle
	} else {
		if (conv_state!=CONVERTER_STARTED) {
			ConverterStart();
		}

		ConverterProccess();
	}
}

void HAL_TIM_PeriodElapsedCallback(TIM_HandleTypeDef *htim)
{
		//fast 120msec feedback loop and 50HZ A1 and A2 control
        /*if(htim->Instance == TIM1) //HIGH speed feedback
        {
        	FASTfeedback();
        }*/

        //slow 1sec feedback loop and LEDV and LEDI control
        if(htim->Instance == TIM2) //LOW speed feedback
        {
        	if ( (compi_flag_sec>comp_cnt_per_sec) || (compv_flag_sec>comp_cnt_per_sec))  {
        		if (Blocked_By_COMP_TICK<Blocked_By_COMP_TICK_MAX) {
        			Blocked_By_COMP_TICK++;
        			compi_flag_sec=0;
        			compv_flag_sec=0;
        		}
        	} else {
        		if ((Blocked_By_COMP_TICK>0) && (Blocked_By_COMP_TICK<Blocked_By_COMP_TICK_MAX)) {
        			Blocked_By_COMP_TICK--;
        		}
        	}

        			if ( ( (compi_flag_sec==0) && (compv_flag_sec==0))
        			|| ((Blocked_By_COMP_TICK==0)) ){
                		if (conv_state!=CONVERTER_STARTED) {
                			TIM2->CCR1=LED_BLINK;
                			TIM2->CCR2=LED_BLINK;
                		}
                	}

        }

        //2sec UART
        if(htim->Instance == TIM15) //UART speed feedback
        {
        	TIM15->CCR1=LED_OFF;
        	uint8_t str[]="Hello\r\n";
        	HAL_UART_Transmit_DMA(&huart1, str, sizeof(str)-1);
        }
          /* USER CODE END 2 */
}

static void PVD_Config(void)
{
    PWR_PVDTypeDef sConfigPVD = {0};
    sConfigPVD.PVDLevel = PWR_PVDLEVEL_6; // 2.8V
    sConfigPVD.Mode = PWR_PVD_MODE_IT_RISING_FALLING; // IT settings
    HAL_PWR_ConfigPVD(&sConfigPVD); // configure
    HAL_PWR_EnablePVD(); // activate
}

void HAL_PWR_PVDCallback(void)
{
	if (__HAL_PWR_GET_FLAG(PWR_FLAG_PVDO)==1) {
		low_pvd_flag  = 1;
	} else {
		low_pvd_flag  = 0;
	}
}

void HAL_COMP_TriggerCallback(COMP_HandleTypeDef *hcomp)
{
  if (hcomp->Instance==COMP4) {
	  	//HRTIM1->sTimerxRegs[1].CPT2xR
		compi_flag++;
		compi_flag_sec++;
		ConverterStop();
		TIM2->CCR1=LED_ON;
		TIM15->CCR1=LED_MINIBLINK;
		//COMP_EXTI_DISABLE_IT(COMP_EXTI_LINE_COMP4);
  }

  if (hcomp->Instance==COMP2) {
	    //HRTIM1->sTimerxRegs[1].CPT1xR
		compv_flag++;
		compv_flag_sec++;
		ConverterStop();
		TIM2->CCR2=LED_ON;
		TIM15->CCR1=LED_MINIBLINK;
		//COMP_EXTI_DISABLE_IT(COMP_EXTI_LINE_COMP2);
  }

}

//void HAL_ADCEx_InjectedConvCpltCallback(ADC_HandleTypeDef* hadc)
void  HAL_ADCEx_InjectedCallback(void)
{
	if( __HAL_ADC_GET_FLAG(&hadc1, ADC_FLAG_JEOC | ADC_FLAG_JEOS)) {
		__HAL_ADC_CLEAR_FLAG(&hadc1, ADC_FLAG_JEOC | ADC_FLAG_JEOS);
	}

	if( __HAL_ADC_GET_FLAG(&hadc2, ADC_FLAG_JEOC | ADC_FLAG_JEOS)) {
		__HAL_ADC_CLEAR_FLAG(&hadc2, ADC_FLAG_JEOC | ADC_FLAG_JEOS);
	}
	//__HAL_ADC_CLEAR_FLAG(&hadc2, ADC_FLAG_JEOC | ADC_FLAG_JEOS);
	//__HAL_ADC_CLEAR_FLAG(&hadc1, ADC_FLAG_JEOC | ADC_FLAG_JEOS);
	if (!Stop_ADC_OCV) {
		ADC_OCV[Adc_step]=ADC1->JDR1;
	}
	if (!Stop_ADC_OCI) {
		ADC_OCI[Adc_step]=ADC2->JDR1;
	}

	if (Adc_step >= ADC_sizeBuffer) {
		Adc_step = 0;
	}
	Adc_step++;
}

/* USER CODE END 0 */

int main(void)
{

  /* MCU Configuration--------------------------------------------------------*/

  /* Reset of all peripherals, Initializes the Flash interface and the Systick. */
  HAL_Init();

  /* Configure the system clock */
  SystemClock_Config();

  /* Initialize all configured peripherals */
  MX_GPIO_Init();
  MX_DMA_Init();
  MX_IWDG_Init();
  MX_TIM1_Init();
  MX_USART1_UART_Init();
  MX_TIM2_Init();
  MX_TIM15_Init();
  MX_TIM3_Init();
  MX_TIM17_Init();
  MX_HRTIM1_Init();
  MX_DAC1_Init();
  MX_DAC2_Init();
  MX_COMP2_Init();
  MX_COMP4_Init();
  MX_ADC1_Init();
  MX_ADC2_Init();

  /* Initialize interrupts */
  MX_NVIC_Init();
  /* USER CODE BEGIN 2 */

  // config PVD
  PVD_Config();
  HAL_PWR_PVDCallback();

  // init  kHZ PWM, stop TOP+BOTTOM
  HAL_HRTIM_WaveformOutputStop(&hhrtim1, HRTIM_OUTPUT_TA1
                                  | HRTIM_OUTPUT_TA2
                                  | HRTIM_OUTPUT_TB1
                                  | HRTIM_OUTPUT_TB2);

  HAL_HRTIM_WaveformCountStart(&hhrtim1, HRTIM_TIMERID_MASTER
		  | HRTIM_TIMERID_TIMER_C);

  // igla timer
  HAL_TIM_Base_Start(&htim17);
  HAL_TIM_PWM_Start(&htim17, TIM_CHANNEL_1);

  // buzzer timer
  HAL_TIM_Base_Start_IT(&htim15);
  HAL_TIM_PWM_Start(&htim15, TIM_CHANNEL_1);

  // cooler timer
  HAL_TIM_Base_Start(&htim3);
  HAL_TIM_PWM_Start(&htim3, TIM_CHANNEL_1);

  // Unblock UCC
  HAL_GPIO_WritePin(pinUCCcontrol_GPIO_Port, pinUCCcontrol_Pin, GPIO_PIN_RESET);

  //Default State
  if (__HAL_HRTIM_GET_FLAG(&hhrtim1,HRTIM_IT_FLT1)) {
	  ConverterStop();
  }

  // start DAC Current
  //HAL_DAC_SetValue(&hdac2, DAC_CHANNEL_1, DAC_ALIGN_12B_R, CURRENT_LEVEL);
  DAC2->DHR12R1=CURRENT_LEVEL_COMP;
  HAL_DAC_Start(&hdac2, DAC_CHANNEL_1);

  // start DAC Voltage
  DAC1->DHR12R2=VOLTAGE_LEVEL_COMP;
  HAL_DAC_Start(&hdac1, DAC_CHANNEL_2);

  //fast 120msec feedback loop and 50HZ A1 and A2 control
  HAL_TIM_Base_Start_IT(&htim1);
  //HAL_TIM_PWM_Start(&htim1, TIM_CHANNEL_1);
  //HAL_TIM_PWM_Start(&htim1, TIM_CHANNEL_2);

  //slow 1sec feedback loop and LEDV and LEDI control
  HAL_TIM_Base_Start_IT(&htim2);
  HAL_TIM_PWM_Start(&htim2, TIM_CHANNEL_1);
  HAL_TIM_PWM_Start(&htim2, TIM_CHANNEL_2);

  // start comparator
  HAL_COMP_Start_IT(&hcomp2);
  HAL_COMP_Start_IT(&hcomp4);

  	//*****************************************************//
    //Start ADC1 and ADC2
    //HAL_ADC_Start_DMA(&hadc1,
    //                        (uint32_t *)ADC1_Data,
    //						  ADC1_Cnt_Channel);
    HAL_ADCEx_Calibration_Start(&hadc2,ADC_SINGLE_ENDED);
    HAL_ADCEx_Calibration_Start(&hadc1,ADC_SINGLE_ENDED);
    HAL_ADCEx_InjectedStart(&hadc1);
    HAL_ADCEx_InjectedStart_IT(&hadc2);

  /* USER CODE END 2 */

  /* Infinite loop */
  /* USER CODE BEGIN WHILE */
  while (1)
  {
	  __HAL_IWDG_RELOAD_COUNTER(&hiwdg);
    /* USER CODE END WHILE */

  }
}

void SystemClock_Config(void)
{
  RCC_OscInitTypeDef RCC_OscInitStruct = {0};
  RCC_ClkInitTypeDef RCC_ClkInitStruct = {0};
  RCC_PeriphCLKInitTypeDef PeriphClkInit = {0};

  /** Initializes the RCC Oscillators according to the specified parameters
  * in the RCC_OscInitTypeDef structure.
  */
  RCC_OscInitStruct.OscillatorType = RCC_OSCILLATORTYPE_LSI|RCC_OSCILLATORTYPE_HSE;
  RCC_OscInitStruct.HSEState = RCC_HSE_ON;
  RCC_OscInitStruct.HSEPredivValue = RCC_HSE_PREDIV_DIV1;
  RCC_OscInitStruct.HSIState = RCC_HSI_ON;
  RCC_OscInitStruct.LSIState = RCC_LSI_ON;
  RCC_OscInitStruct.PLL.PLLState = RCC_PLL_ON;
  RCC_OscInitStruct.PLL.PLLSource = RCC_PLLSOURCE_HSE;
  RCC_OscInitStruct.PLL.PLLMUL = RCC_PLL_MUL6;
  if (HAL_RCC_OscConfig(&RCC_OscInitStruct) != HAL_OK)
  {
    Error_Handler();
  }
  /** Initializes the CPU, AHB and APB buses clocks
  */
  RCC_ClkInitStruct.ClockType = RCC_CLOCKTYPE_HCLK|RCC_CLOCKTYPE_SYSCLK
                              |RCC_CLOCKTYPE_PCLK1|RCC_CLOCKTYPE_PCLK2;
  RCC_ClkInitStruct.SYSCLKSource = RCC_SYSCLKSOURCE_PLLCLK;
  RCC_ClkInitStruct.AHBCLKDivider = RCC_SYSCLK_DIV1;
  RCC_ClkInitStruct.APB1CLKDivider = RCC_HCLK_DIV2;
  RCC_ClkInitStruct.APB2CLKDivider = RCC_HCLK_DIV1;

  if (HAL_RCC_ClockConfig(&RCC_ClkInitStruct, FLASH_LATENCY_2) != HAL_OK)
  {
    Error_Handler();
  }
  PeriphClkInit.PeriphClockSelection = RCC_PERIPHCLK_HRTIM1|RCC_PERIPHCLK_USART1
                              |RCC_PERIPHCLK_TIM1|RCC_PERIPHCLK_ADC12;
  PeriphClkInit.Usart1ClockSelection = RCC_USART1CLKSOURCE_SYSCLK;
  PeriphClkInit.Adc12ClockSelection = RCC_ADC12PLLCLK_DIV1;
  PeriphClkInit.Tim1ClockSelection = RCC_TIM1CLK_PLLCLK;
  PeriphClkInit.Hrtim1ClockSelection = RCC_HRTIM1CLK_PLLCLK;
  if (HAL_RCCEx_PeriphCLKConfig(&PeriphClkInit) != HAL_OK)
  {
    Error_Handler();
  }
}

/**
  * @brief NVIC Configuration.
  * @retval None
  */
static void MX_NVIC_Init(void)
{
  /* TIM1_UP_TIM16_IRQn interrupt configuration */
  HAL_NVIC_SetPriority(TIM1_UP_TIM16_IRQn, 1, 0);
  HAL_NVIC_EnableIRQ(TIM1_UP_TIM16_IRQn);
  /* COMP2_IRQn interrupt configuration */
  HAL_NVIC_SetPriority(COMP2_IRQn, 2, 0);
  HAL_NVIC_EnableIRQ(COMP2_IRQn);
  /* COMP4_6_IRQn interrupt configuration */
  HAL_NVIC_SetPriority(COMP4_6_IRQn, 3, 0);
  HAL_NVIC_EnableIRQ(COMP4_6_IRQn);
  /* ADC1_2_IRQn interrupt configuration */
  HAL_NVIC_SetPriority(ADC1_2_IRQn, 0, 0);
  HAL_NVIC_EnableIRQ(ADC1_2_IRQn);
  /* TIM2_IRQn interrupt configuration */
  HAL_NVIC_SetPriority(TIM2_IRQn, 4, 0);
  HAL_NVIC_EnableIRQ(TIM2_IRQn);
  /* TIM1_BRK_TIM15_IRQn interrupt configuration */
  HAL_NVIC_SetPriority(TIM1_BRK_TIM15_IRQn, 13, 0);
  HAL_NVIC_EnableIRQ(TIM1_BRK_TIM15_IRQn);
  /* PVD_IRQn interrupt configuration */
  HAL_NVIC_SetPriority(PVD_IRQn, 12, 0);
  HAL_NVIC_EnableIRQ(PVD_IRQn);
  /* DMA1_Channel4_IRQn interrupt configuration */
  HAL_NVIC_SetPriority(DMA1_Channel4_IRQn, 14, 0);
  HAL_NVIC_EnableIRQ(DMA1_Channel4_IRQn);
  /* DMA1_Channel5_IRQn interrupt configuration */
  HAL_NVIC_SetPriority(DMA1_Channel5_IRQn, 14, 0);
  HAL_NVIC_EnableIRQ(DMA1_Channel5_IRQn);
}

void Error_Handler(void)
{
}

/************************ (C) COPYRIGHT STMicroelectronics *****END OF FILE****/
